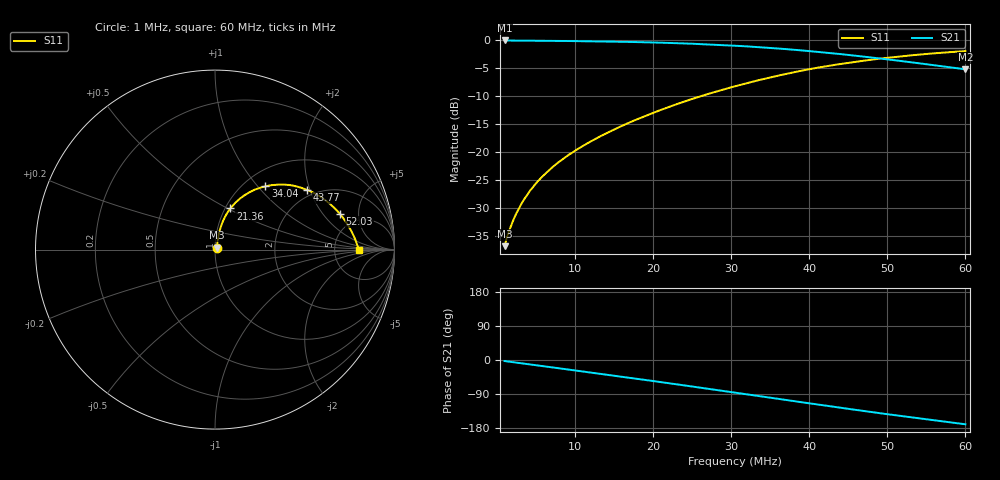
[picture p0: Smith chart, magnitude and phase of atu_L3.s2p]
! S11/S21 from S-A-A-2 VNA
! Written 2026-11-14 07:40:54 by the saav2 MCP server
! S12 and S22 were not measured (1.5-port VNA) and are written as 0
# HZ S RI R 50
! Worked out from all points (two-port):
!   201 points, 1 MHz to 60 MHz, reference 50 ohm
!   highest |S21| = -0.02 dB at 1 MHz (marker M1); lowest = -5.2 dB at 60 MHz (marker M2)
!   |S21| within 3 dB of the highest: start of sweep to 47.72 MHz
!   lowest |S11| = -36.7 dB at 1 MHz (marker M3), VSWR 1.03, Z = 51 + j1.11 ohm
!   |S11| at or under -10 dB: start of sweep to 26.05 MHz
!   S12 and S22 are empty: the file has one direction only
!   S11 on the Smith chart (normalised r, x): 1 MHz: 1.02, +0.02; 21.36 MHz: 1.06, +0.52; 34.04 MHz: 1.24, +1.10; 43.77 MHz: 1.80, +1.91; 52.03 MHz: 3.60, +3.01; 60 MHz: 9.11, -0.23
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1000000  0.00966 0.0109  0.9969 -0.0477  0 0  0 0
1295000  0.0102 0.0142  0.9949 -0.0628  0 0  0 0
2180000  0.0113 0.0229  0.9896 -0.1048  0 0  0 0
3360000  0.0127 0.0346  0.9805 -0.1601  0 0  0 0
4245000  0.014 0.0433  0.9724 -0.2008  0 0  0 0
5720000  0.0161 0.0576  0.9543 -0.2678  0 0  0 0
7195000  0.0187 0.0721  0.9314 -0.3339  0 0  0 0
1.103e7  0.0274 0.111  0.8488 -0.4955  0 0  0 0
1.575e7  0.0464 0.1627  0.7059 -0.668  0 0  0 0
2.0765e7  0.0802 0.2221  0.5107 -0.8059  0 0  0 0
2.1355e7  0.0856 0.2291  0.4855 -0.8188  0 0  0 0
2.578e7  0.1352 0.2811  0.2844 -0.8843  0 0  0 0
3.05e7  0.2093 0.3281  0.0614 -0.8937  0 0  0 0
3.404e7  0.28 0.3527  -0.0993 -0.8594  0 0  0 0
3.699e7  0.3464 0.3617  -0.2212 -0.8059  0 0  0 0
4.053e7  0.4341 0.3568  -0.3473 -0.7167  0 0  0 0
4.3775e7  0.5135 0.3322  -0.4378 -0.6174  0 0  0 0
4.702e7  0.5908 0.2924  -0.5028 -0.5091  0 0  0 0
5.0265e7  0.6612 0.2357  -0.5431 -0.3984  0 0  0 0
5.2035e7  0.6957 0.1991  -0.5555 -0.3388  0 0  0 0
5.587e7  0.7574 0.1073  -0.5619 -0.2162  0 0  0 0
6e7  0.8023 -0.00443  -0.543 -0.0993  0 0  0 0
